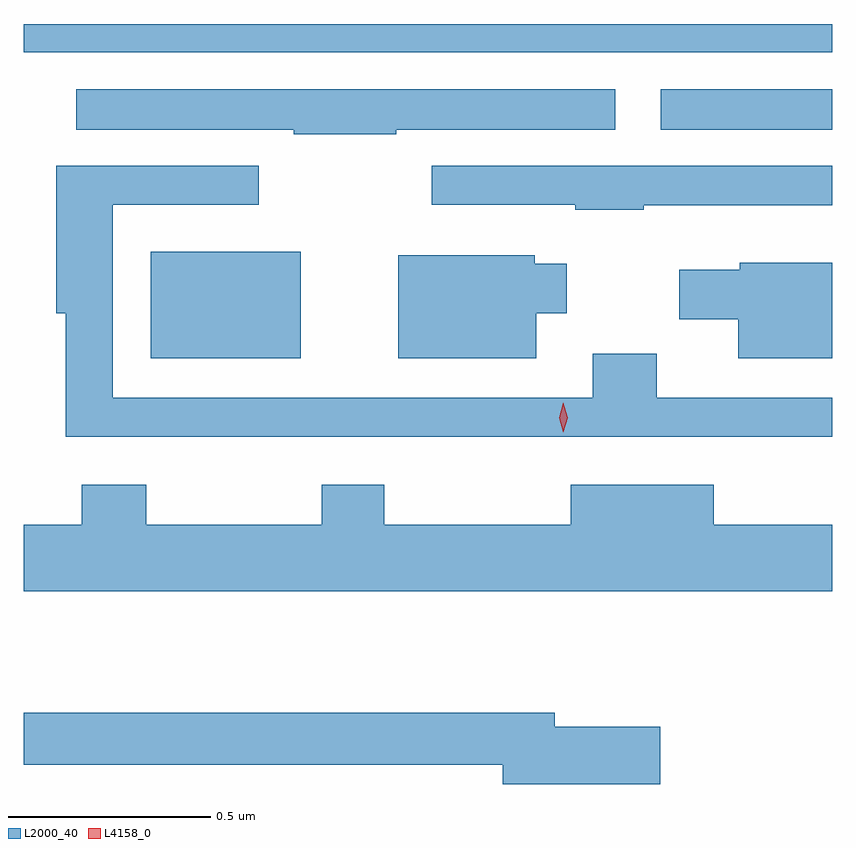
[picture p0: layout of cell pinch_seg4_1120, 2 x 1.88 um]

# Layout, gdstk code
import gdstk
lib = gdstk.Library(unit=1e-6, precision=1e-09)
def R(c, l, rs):  # rectangles x0, y0, x1, y1
    for r in rs: c.add(gdstk.rectangle(r[:2], r[2:], *l))
def P(c, l, *ps):  # polygons
    for p in ps: c.add(gdstk.Polygon(p, *l))
L2000_40 = (2000, 40)
L4158_0 = (4158, 0)

pinch_seg4_1120 = lib.new_cell('pinch_seg4_1120')
R(pinch_seg4_1120, L2000_40, [(528.11,829.364,528.481,829.627), (529.371,829.928,529.795,830.029), (527.795,830.12,529.795,830.19)])
P(pinch_seg4_1120, L2000_40, [(528.716,829.928),(529.258,829.928),(529.258,830.029),(527.925,830.029),(527.925,829.928),(528.463,829.928),(528.463,829.918),(528.716,829.918)],
  [(528.443,829.17),(528.775,829.17),(528.775,829.169),(529.106,829.169),(529.106,829.17),(529.597,829.17),(529.597,829.169),(529.795,829.169),(529.795,829.266),(529.36,829.266),(529.36,829.375),(529.202,829.375),(529.202,829.266),(528.015,829.266),(528.015,829.743),(528.376,829.743),(528.376,829.839),(527.876,829.839),(527.876,829.475),(527.899,829.475),(527.899,829.17),(528.187,829.17),(528.187,829.169),(528.443,829.169)],
  [(529.328,829.742),(529.795,829.742),(529.795,829.839),(528.804,829.839),(528.804,829.743),(529.159,829.743),(529.159,829.731),(529.328,829.731)],
  [(529.063,829.475),(529.138,829.475),(529.138,829.597),(529.059,829.597),(529.059,829.618),(528.722,829.618),(528.722,829.364),(529.063,829.364)],
  [(529.795,829.6),(529.566,829.6),(529.566,829.582),(529.416,829.582),(529.416,829.46),(529.562,829.46),(529.562,829.364),(529.795,829.364)],
  [(529.795,828.952),(529.501,828.952),(529.501,829.051),(529.148,829.051),(529.148,828.952),(528.687,828.952),(528.687,829.051),(528.532,829.051),(528.532,828.952),(528.099,828.952),(528.099,829.051),(527.939,829.051),(527.939,828.952),(527.795,828.952),(527.795,828.788),(529.795,828.788)],
  [(529.369,828.453),(529.108,828.453),(529.108,828.487),(527.795,828.487),(527.795,828.358),(528.98,828.358),(528.98,828.311),(529.369,828.311)])
P(pinch_seg4_1120, L4158_0, [(529.13,829.181),(529.13,829.181),(529.12,829.217),(529.13,829.253),(529.13,829.253),(529.13,829.253),(529.14,829.217),(529.13,829.181)])

lib.write_gds('pinch_seg4_1120.gds')
